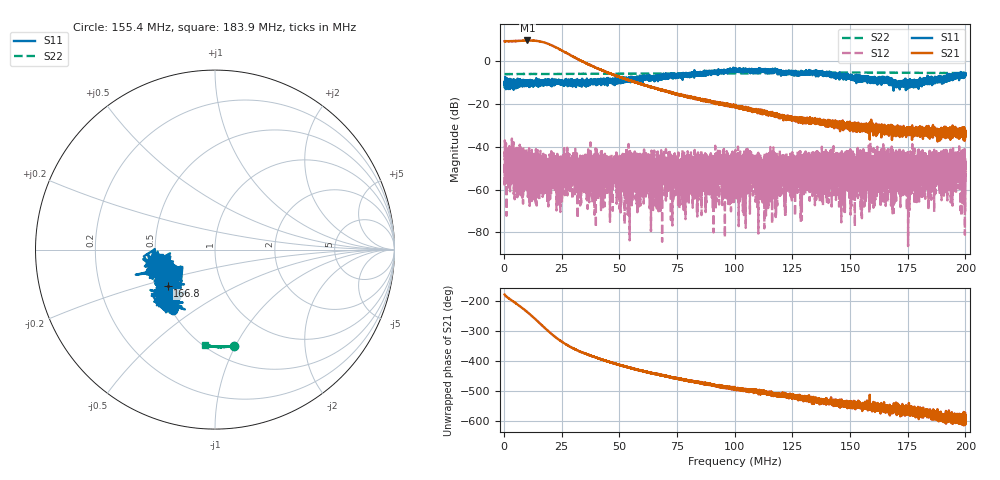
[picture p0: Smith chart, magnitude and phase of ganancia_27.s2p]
# Hz S DB R 50
! CMT, M5065, 19127446, 24.2.4/2
! Date: 10/29/2024 12:27:10 PM
! Data: Format (Calibration Info)
! Freq	S11:dB/Ang(F2)	S21:dB/Ang(F2)	S12:dB/Ang(F2)	S22:dB/Ang(F2)
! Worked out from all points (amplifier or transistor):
!   9000 points, 300 kHz to 200 MHz, reference 50 ohm
!   highest |S21| = 9.8 dB at 10.18 MHz (marker M1)
!   |S21| within 3 dB of that: start of sweep to 22.08 MHz
!   unconditionally stable (mu >= 1): start of sweep to end of sweep
!   at 33.59 MHz: K = 187.52, MAG = 2.0 dB, |S12| = -55.2 dB
!   at 100.2 MHz: K = 405.39, MAG = -17.4 dB, |S12| = -44.6 dB
!   at 200 MHz: K = 3088.17, MAG = -32.2 dB, |S12| = -46.4 dB
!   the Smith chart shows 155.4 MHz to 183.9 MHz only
!   S11 on the Smith chart (normalised r, x): 155.4 MHz: 0.51, -0.41; 166.8 MHz: 0.54, -0.25; 183.9 MHz: 0.53, -0.05
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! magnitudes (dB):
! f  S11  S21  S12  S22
! 300 kHz  -11.0  9.4  -53.7  -6.0
! 1.387 MHz  -10.2  9.4  -45.7  -6.0
! 10.18 MHz  -10.6  9.8  -53.5  -5.9
! 19.05 MHz  -9.5  8.2  -47.4  -5.9
! 30.24 MHz  -9.8  2.1  -52.6  -5.9
! 33.59 MHz  -9.8  0.2  -55.2  -5.9
! 53.85 MHz  -8.0  -8.7  -54.1  -5.7
! 66.87 MHz  -7.7  -13.0  -51.4  -5.7
! 92.86 MHz  -5.3  -19.5  -53.0  -5.7
! 100.2 MHz  -3.8  -21.1  -44.6  -5.6
! 111.6 MHz  -4.6  -23.9  -49.5  -5.6
! 122.2 MHz  -6.1  -26.2  -54.1  -5.5
! 133.4 MHz  -5.1  -28.1  -52.6  -5.3
! 141.7 MHz  -5.6  -28.4  -54.9  -5.3
! 146.8 MHz  -6.3  -27.7  -47.2  -5.2
! 155.4 MHz  -7.7  -32.5  -52.7  -5.2
! 163.1 MHz  -8.0  -32.0  -59.9  -5.3
! 164.3 MHz  -7.8  -31.5  -55.8  -5.3
! 166.7 MHz  -9.9  -31.6  -49.1  -5.3
! 166.8 MHz  -9.5  -32.3  -52.0  -5.3
! 183.9 MHz  -10.2  -33.4  -44.3  -5.4
! 200 MHz  -5.6  -35.1  -46.4  -5.5
